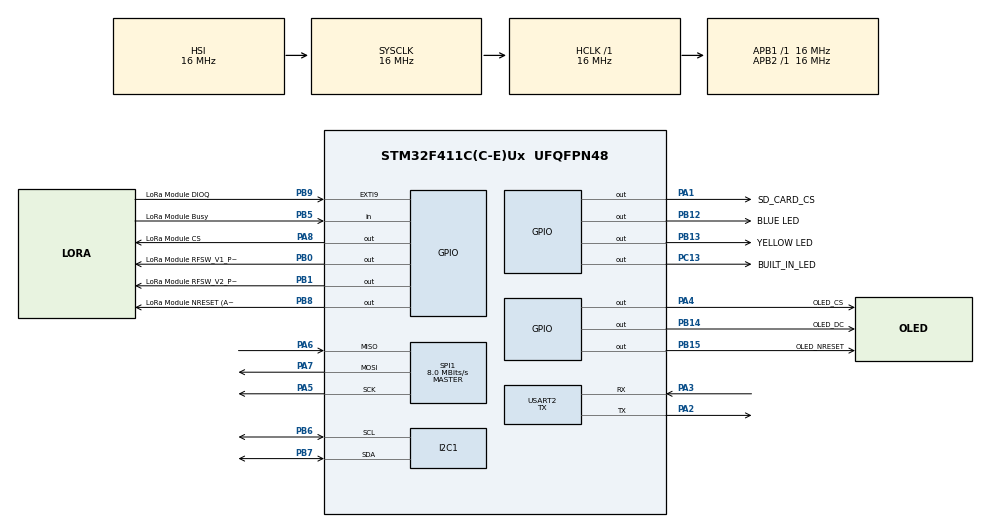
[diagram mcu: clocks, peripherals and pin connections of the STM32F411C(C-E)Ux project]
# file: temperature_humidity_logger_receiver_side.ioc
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I2C1.GeneralCallMode=I2C_GENERALCALL_DISABLE
I2C1.I2C_Mode=I2C_Standard
Mcu.Family=STM32F4
Mcu.Name=STM32F411C(C-E)Ux
Mcu.Package=UFQFPN48
NVIC.EXTI9_5_IRQn=true\:0\:0\:false\:false\:true\:true\:true\:true
NVIC.PriorityGroup=NVIC_PRIORITYGROUP_4
PA1.GPIO_Label=SD_CARD_CS
PA1.PinState=GPIO_PIN_SET
PA1.Signal=GPIO_Output
PA2.GPIO_Speed=GPIO_SPEED_FREQ_LOW
PA2.Mode=Asynchronous
PA2.Signal=USART2_TX
PA3.GPIO_Speed=GPIO_SPEED_FREQ_LOW
PA3.Mode=Asynchronous
PA3.Signal=USART2_RX
PA4.GPIO_Label=OLED_CS
PA4.PinState=GPIO_PIN_SET
PA4.Signal=GPIO_Output
PA5.GPIO_Speed=GPIO_SPEED_FREQ_LOW
PA5.Mode=Full_Duplex_Master
PA5.Signal=SPI1_SCK
PA6.GPIO_Speed=GPIO_SPEED_FREQ_LOW
PA6.Mode=Full_Duplex_Master
PA6.Signal=SPI1_MISO
PA7.GPIO_Speed=GPIO_SPEED_FREQ_LOW
PA7.Mode=Full_Duplex_Master
PA7.Signal=SPI1_MOSI
PA8.GPIO_Label=LoRa Module CS
PA8.PinState=GPIO_PIN_SET
PA8.Signal=GPIO_Output
PB0.GPIO_Label=LoRa Module RFSW_V1_PIN_POS
PB0.Signal=GPIO_Output
PB1.GPIO_Label=LoRa Module RFSW_V2_PIN_POS
PB1.Signal=GPIO_Output
PB12.GPIO_Label=BLUE LED
PB12.Signal=GPIO_Output
PB13.GPIO_Label=YELLOW LED
PB13.PinState=GPIO_PIN_RESET
PB13.Signal=GPIO_Output
PB14.GPIO_Label=OLED_DC
PB14.Signal=GPIO_Output
PB15.GPIO_Label=OLED_NRESET
PB15.PinState=GPIO_PIN_SET
PB15.Signal=GPIO_Output
PB5.GPIO_Label=LoRa Module Busy
PB5.Signal=GPIO_Input
PB6.GPIO_Speed=GPIO_SPEED_FREQ_LOW
PB6.Mode=I2C
PB6.Signal=I2C1_SCL
PB7.GPIO_Speed=GPIO_SPEED_FREQ_LOW
PB7.Mode=I2C
PB7.Signal=I2C1_SDA
PB8.GPIO_Label=LoRa Module NRESET (Active-Low)
PB8.PinState=GPIO_PIN_SET
PB8.Signal=GPIO_Output
PB9.GPIO_Label=LoRa Module DIOQ
PB9.GPIO_PuPd=GPIO_PULLDOWN
PB9.Signal=GPXTI9
PC13-ANTI_TAMP.GPIO_Label=BUILT_IN_LED
PC13-ANTI_TAMP.PinState=GPIO_PIN_SET
PC13-ANTI_TAMP.Signal=GPIO_Output
PC14-OSC32_IN.Mode=LSE-External-Oscillator
PC14-OSC32_IN.Signal=RCC_OSC32_IN
PC15-OSC32_OUT.Mode=LSE-External-Oscillator
PC15-OSC32_OUT.Signal=RCC_OSC32_OUT
ProjectManager.HeapSize=0x200
ProjectManager.StackSize=0x400
ProjectManager.TargetToolchain=STM32CubeIDE
RCC.48MHZClocksFreq_Value=48000000
RCC.AHBFreq_Value=16000000
RCC.APB1Freq_Value=16000000
RCC.APB1TimFreq_Value=16000000
RCC.APB2Freq_Value=16000000
RCC.APB2TimFreq_Value=16000000
RCC.CortexFreq_Value=16000000
RCC.HCLKFreq_Value=16000000
RCC.HSE_VALUE=25000000
RCC.HSI_VALUE=16000000
RCC.RCC_RTC_Clock_Source=RCC_RTCCLKSOURCE_LSE
RCC.RCC_RTC_Clock_SourceVirtual=RCC_RTCCLKSOURCE_LSE
RCC.SYSCLKFreq_VALUE=16000000
RCC.VCOOutputFreq_Value=192000000
SPI1.BaudRatePrescaler=SPI_BAUDRATEPRESCALER_2
SPI1.CLKPhase=SPI_PHASE_1EDGE
SPI1.CalculateBaudRate=8.0 MBits/s
SPI1.Direction=SPI_DIRECTION_2LINES
SPI1.Mode=SPI_MODE_MASTER
SPI1.VirtualType=VM_MASTER
USART2.Mode=MODE_TX
USART2.VirtualMode=VM_ASYNC
VP_RTC_VS_RTC_Activate.Mode=RTC_Enabled
VP_RTC_VS_RTC_Calendar.Mode=RTC_Calendar
board=custom

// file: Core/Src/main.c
/* USER CODE BEGIN Header */
/**
  ******************************************************************************
  * @file           : main.c
  * @brief          : Main program body
  ******************************************************************************
  * @attention
  *
  * Copyright (c) 2026 STMicroelectronics.
  * All rights reserved.
  *
  * This software is licensed under terms that can be found in the LICENSE file
  * in the root directory of this software component.
  * If no LICENSE file comes with this software, it is provided AS-IS.
  *
  ******************************************************************************
  */
/* USER CODE END Header */
#include "main.h"

/* USER CODE BEGIN Includes */
#include "rylr689_driver.h"
#include "ds3231_driver.h"
#include "stm32_commons.h"
#include "sdCard_driver.h"
#include "ff.h"
#include "oled_sh1106_driver.h"
#include "dht22_driver.h"
#include "temp_hum_commons.h"
#include <string.h>

/* USER CODE END Includes */

/* USER CODE BEGIN PD */
#define LAST_UPDATE_HEADER_LINE		0
#define DATE_HEADER_LINE 			1
#define TIME_HEADER_LINE 			2
#define TEMPERATURE_HEADER_LINE 	4
#define HUMIDITY_HEADER_LINE 		5

#define RTC_BASE_CENTURY			2000

#define TIME_FORMAT_WIDTH 8 /* HH:MM:SS -> 10 characters. */
#define DATE_FORMAT_WIDTH 10 /* MM:DD:YYYY -> 10 characters. */

/* USER CODE END PD */

I2C_HandleTypeDef hi2c1;

RTC_HandleTypeDef hrtc;

SPI_HandleTypeDef hspi1;

UART_HandleTypeDef huart2;

/* USER CODE BEGIN PV */

/* USER CODE BEGIN PV */

/* Extern in diskio.h */
sdCard_instance_t sdCardDev = {
		  .csPin = {
				  .port =SD_CARD_CS_GPIO_Port,
				  .pin = SD_CARD_CS_Pin
		  },
		  .pinRead = wrapper_pin_read,
		  .pinWrite = wrapper_pin_write,
		  .delay = wrapper_delay,
		  .spiHandle = &hspi1,
		  .spiTransmitReceive = wrapper_spi_transmit_receive,
		  .spiTransmit = wrapper_spi_transmit,
		  .getState = wrapper_get_spi_state,
		  .setBaudrate = wrapper_sdCard_spi_setBaudrate,
		  .initialized = 0
};

/* USER CODE END PV */

void SystemClock_Config(void);
static void MX_GPIO_Init(void);
static void MX_SPI1_Init(void);
static void MX_USART2_UART_Init(void);
static void MX_I2C1_Init(void);
static void MX_RTC_Init(void);
/* USER CODE BEGIN PFP */

static void rylry689_radio_init(rylr689_instance_t *dev, uint8_t *buffer);
static void sh1106_oled_init(oled_sh1106_instance_t *dev);
static void ds3231_rtc_init(ds3231_instance_t *dev);
static void sdCard_global_init(void);
static void syncIntRTCPeriphToExtRTC(ds3231_instance_t *dev);

/* For FatFS RTC capability. */
static void getDateTime(RTC_TimeTypeDef *curTime, RTC_DateTypeDef *curDate);

/* USER CODE END PFP */

/* USER CODE BEGIN 0 */

typedef enum {
	STATE_APP_START = 0,
	STATE_SLEEP_ON_WAIT,
	STATE_ON_RECEIVE
} app_state_t;

volatile app_state_t appState = STATE_APP_START;

/* USER CODE END 0 */

int main(void)
{

  /* MCU Configuration--------------------------------------------------------*/

  /* Reset of all peripherals, Initializes the Flash interface and the Systick. */
  HAL_Init();

  /* Configure the system clock */
  SystemClock_Config();

  /* Initialize all configured peripherals */
  MX_GPIO_Init();
  MX_SPI1_Init();
  MX_USART2_UART_Init();
  MX_I2C1_Init();
  MX_RTC_Init();
  /* USER CODE BEGIN 2 */

	/* Oled module START. */
	oled_sh1106_instance_t oled1;
	sh1106_oled_init(&oled1);
	/* Oled module END. */

	/* RTC module START. */
	ds3231_instance_t rtc1;
	ds3231_rtc_init(&rtc1);

	/* Update MCU RTC peripheral to avoid constantly querying ds3231 module. */
	syncIntRTCPeriphToExtRTC(&rtc1);

	RTC_TimeTypeDef curTime = {0};
	RTC_DateTypeDef curDate = {0};
	getDateTime(&curTime, &curDate);
	/* RTC module END. */

	/* SD card module START. */
	sdCard_global_init(); /* Initialize SD card. */

  	FATFS fs;   /* File system. */
  	FIL file;   /* File handler. */
  	FRESULT res; /* Result from file function calls. */
  	UINT br; /* Bytes read from file. */
  	UINT bw; /* Bytes written to file. */

  	/* Original files will have only the date stamp. If this file exist but the header
  	 * did not match, create a new file with time stamp.
  	 *
  	 * The limitation is that when the original fails. Then each boot up for the current
  	 * date will create new files with new time stamp. To avoid this, one possible solution
  	 * is to create a backup file for failing files, then reuse the original filename. This way
  	 * file creation can be reduced. The down-side is that creating a backup may take time if
  	 * original file is large.
  	 *
  	 * */
  	char filename[30];
  	char header[] = "Date: [mm-dd-yyyy],Time: (24-hour format): [hh-mm-ss],Temperature: (Celsius),Humidity: (%)\r\n";
  	uint32_t headerLen = strlen(header);

  	res = f_mount(&fs, "",0);

  	if(res != FR_OK) {
  		char *errMsg = "SD card error! Failed to mount file system!";
  		sh1106_setAtCharacter(&oled1, LAST_UPDATE_HEADER_LINE, 0);
		sh1106_write_line(&oled1, errMsg, strlen(errMsg));
		Error_Handler();
  	}

  	snprintf(filename, 29, "sensor_log_%04u-%02u-%02u.csv", \
  			(curDate.Year + RTC_BASE_CENTURY), curDate.Month, curDate.Date);
  	uint32_t startTime = HAL_GetTick();

  	/* Open file for current date. */
  	while((res = f_open(&file, filename, FA_WRITE | FA_READ | FA_OPEN_APPEND)) != FR_OK) {
  		if((HAL_GetTick() - startTime) > SD_TIMEOUT) {
  			char *errMsg = "SD card error! Failed to open file!";
			sh1106_setAtCharacter(&oled1, LAST_UPDATE_HEADER_LINE, 0);
			sh1106_write_line(&oled1, errMsg, strlen(errMsg));
  			Error_Handler();
  		}
  	}

  	/* Check if file is empty. If not check if header exist. */
  	if(f_size(&file) > 0) {
  		char testRead[headerLen];
  		/* Set cursor to beginning. Then perform a read. */
  		f_lseek(&file, 0);
  		res = f_read(&file, testRead, headerLen, &br);

  		/* 1st Method of handling failing files. */
  		/* No matching header. Create new file for same date but with timestamp. */
  		if(memcmp((char*)testRead, header, headerLen) != 0) {
  			FIL tempFile;
  			char tempFilename[FF_MAX_LFN];
  			uint8_t readBuff[512];
  			UINT bytesRead;
  			UINT bytesWritten;
  			FSIZE_t bytesCopied = 0;
  			FSIZE_t bytesRemaining = f_size(&file); /* Though f_size() returns uint64_t, it may be unrealistic
  																	  for a CSV file to be that large. So, only the lower 32-bit
  																	  will be used for now. */
  			char msgDspBuff[100] = "Error with log file! Performing backup...";
  			char *bytesRemHeader = "Bytes remaining: ";
  			char *bytesCopHeader = "Bytes copied: ";

  			uint8_t oldBytesRemValBuffLen;
			uint8_t oldBytesCopValBuffLen;

			sh1106_setAtCharacter(&oled1, LAST_UPDATE_HEADER_LINE, 0);
			sh1106_write_line(&oled1, msgDspBuff, strlen(msgDspBuff));

			/* Line #2. */
			sprintf(msgDspBuff, "File size: %lu", (uint32_t)bytesRemaining);
			sh1106_setAtCharacter(&oled1, LAST_UPDATE_HEADER_LINE + 2, 0);
			sh1106_write_line(&oled1, msgDspBuff, strlen(msgDspBuff));

			/* Line #4. */
			sh1106_setAtCharacter(&oled1, LAST_UPDATE_HEADER_LINE + 3, 0);
			sh1106_write_line(&oled1, bytesRemHeader, strlen(bytesRemHeader));
			sprintf(msgDspBuff, "%lu", (uint32_t)bytesRemaining);
			sh1106_setAtCharacter(&oled1, LAST_UPDATE_HEADER_LINE + 4, 0);
			sh1106_write_line(&oled1, msgDspBuff, strlen(msgDspBuff));
			oldBytesRemValBuffLen = strlen(msgDspBuff);

			/* Line #5. */
			sh1106_setAtCharacter(&oled1, LAST_UPDATE_HEADER_LINE + 5, 0);
			sh1106_write_line(&oled1, bytesCopHeader, strlen(bytesCopHeader));
			sprintf(msgDspBuff, "%lu", (uint32_t)bytesCopied);
			sh1106_setAtCharacter(&oled1, LAST_UPDATE_HEADER_LINE + 6, 0);
			sh1106_write_line(&oled1, msgDspBuff, strlen(msgDspBuff));
			oldBytesCopValBuffLen = strlen(msgDspBuff);

			getDateTime(&curTime, &curDate);

  			/* Filename format: mail_log_YYYY-MM-DD_hh-mm-ss.csv. */
  			snprintf(tempFilename, FF_MAX_LFN, "bak_failing_sensorlog_%04u-%02u-%02u_%02u-%02u-%02u.csv", \
  					(curDate.Year + RTC_BASE_CENTURY), curDate.Month, curDate.Date, \
  					 curTime.Hours, curTime.Minutes, curTime.Seconds);

  			f_open(&tempFile, tempFilename, (FA_WRITE | FA_READ | FA_OPEN_APPEND));

  			/* Set cursor to beginning of original file. Then perform a read. */
  			f_lseek(&file, 0);

  			while(bytesRemaining > bytesCopied) {
  				f_read(&file, readBuff, 512, &bytesRead);
  				f_write(&tempFile, readBuff, bytesRead, &bytesWritten);
  				f_sync(&tempFile);
  				bytesCopied += bytesWritten;

  				/* Display bytes remaining to be copied. */
				sprintf(msgDspBuff, "%lu", (uint32_t)(bytesRemaining - bytesCopied));

				if(oldBytesRemValBuffLen > strlen(msgDspBuff)) {
				  memset((msgDspBuff + strlen(msgDspBuff)), ' ', oldBytesRemValBuffLen - strlen(msgDspBuff));
				}
				sh1106_setAtCharacter(&oled1, LAST_UPDATE_HEADER_LINE + 4, 0);
				sh1106_write_line(&oled1, msgDspBuff, strlen(msgDspBuff));

				/* Display bytes copied. */
				sprintf(msgDspBuff, "%lu", (uint32_t)bytesCopied);
				if(oldBytesCopValBuffLen > strlen(msgDspBuff)) {
				  memset((msgDspBuff + strlen(msgDspBuff)), ' ', oldBytesCopValBuffLen - strlen(msgDspBuff));
				}
				sh1106_setAtCharacter(&oled1, LAST_UPDATE_HEADER_LINE + 6, 0);
				sh1106_write_line(&oled1, msgDspBuff, strlen(msgDspBuff));
  			}

  			sh1106_clearScreen(&oled1);
  			f_close(&tempFile);

//  			/* For debug START. */
//  			f_close(&file);
//  			HAL_GPIO_WritePin(BUILT_IN_LED_GPIO_Port, BUILT_IN_LED_Pin, GPIO_PIN_RESET);
//  			Error_Handler();
//  			/* For debug END. */

  			/* Set cursor to beginning of original file. Then delete its contents, keeping file open. */
  			f_lseek(&file, 0);
  			f_truncate(&file);
  			f_write(&file, header, headerLen, &bw);
  			f_sync(&file);
  		}
  		else {
  			/* Move back the cursor to EOF. To prepare for possible file write operations. */
  			f_lseek(&file, f_size(&file));
  		}
  	}
  	else {
  		res = f_write(&file, header, headerLen, &bw);
  		f_sync(&file);
  	}

  //	/* For debug. */
  //	f_close(&file);
  //	HAL_GPIO_WritePin(YELLOW_LED_GPIO_Port, YELLOW_LED_Pin, GPIO_PIN_SET);
  //	HAL_GPIO_WritePin(BLUE_LED_GPIO_Port, BLUE_LED_Pin, GPIO_PIN_SET);
  	/* SD card module END. */

  	HAL_GPIO_WritePin(BUILT_IN_LED_GPIO_Port, BUILT_IN_LED_Pin, GPIO_PIN_RESET);

  	/* Radio module START. */
  	uint8_t status[256];
  	rylr689_instance_t radio1;
  	rylry689_radio_init(&radio1, status);
  	uint32_t packetSizeReceived;
  	/* Radio module END. */

  	char tempReadBuff[16] = "N/A";
  	char humReadBuff[16] = "N/A";

	/* +1 for null character. */
	char dateBuff[DATE_FORMAT_WIDTH + 1];
	char timeBuff[TIME_FORMAT_WIDTH + 1];

	char* lastUpdateHeader = "Last updated:";
	char *dateHeader = "Date: ";
	char *timeHeader = "Time: ";
	char *temperatureHeader = "Temperature: ";
	char *humidityHeader = "Humidity: ";

	/* Write headers to designated lines. */
	sh1106_setAtCharacter(&oled1, LAST_UPDATE_HEADER_LINE, 0);
	sh1106_write_line(&oled1, lastUpdateHeader, strlen(lastUpdateHeader));

	sh1106_setAtCharacter(&oled1, DATE_HEADER_LINE, 0);
	sh1106_write_line(&oled1, dateHeader, strlen(dateHeader));
	snprintf(dateBuff, DATE_FORMAT_WIDTH + 1,"%02u/%02u/%04u", curDate.Month, curDate.Date, (uint16_t)curDate.Year + RTC_BASE_CENTURY);
	sh1106_write_line(&oled1, dateBuff, strlen(dateBuff));

	sh1106_setAtCharacter(&oled1, TIME_HEADER_LINE, 0);
	sh1106_write_line(&oled1, timeHeader, strlen(timeHeader));
	snprintf(timeBuff, TIME_FORMAT_WIDTH + 1, "%02u:%02u:%02u", curTime.Hours, curTime.Minutes, curTime.Seconds);
	sh1106_write_line(&oled1, timeBuff, strlen(timeBuff));

	sh1106_setAtCharacter(&oled1, TEMPERATURE_HEADER_LINE, 0);
	sh1106_write_line(&oled1, temperatureHeader, strlen(temperatureHeader));
	sh1106_write_line(&oled1, tempReadBuff, strlen(tempReadBuff));

	sh1106_setAtCharacter(&oled1, HUMIDITY_HEADER_LINE, 0);
	sh1106_write_line(&oled1, humidityHeader, strlen(humidityHeader));
	sh1106_write_line(&oled1, humReadBuff, strlen(humReadBuff));

	RTC_DateTypeDef savedDate = curDate;
	uint8_t oldTempBuffLen = strlen(tempReadBuff);
	uint8_t oldHumBuffLen = strlen(humReadBuff);
	char fileWriteSrcBuff[50];

  /* USER CODE END 2 */

  /* Infinite loop */
  /* USER CODE BEGIN WHILE */
  while (1)
  {
	  switch(appState) {
		  case STATE_APP_START:
			  rylr689_radio_receive_it(&radio1);
			  appState = STATE_SLEEP_ON_WAIT;
			  break;
		  case STATE_SLEEP_ON_WAIT:
			  /* Enter sleep....
			   * For now, do nothing.*/
			  break;
		  case STATE_ON_RECEIVE:
			  raw_dht22_data_t rawSensorData;
			  dht22_data_t sensorData;

			  /* Fetch packet. */
			  rylr689_radio_get_packet(&radio1, &packetSizeReceived);

			  /* +1 byte because of sensor query status code. */
			  if(packetSizeReceived != (sizeof(raw_dht22_data_t) + 1)) {
				  break; /* Error in transmission. Log it later. Don't update display. */
			  }

			  /* Check status of sensor query. */
			  switch (status[0]) {
			  case STATUS_SENSOR_QUERY_OK:
				  /* Status + 1 to skip sensor status code. */
				  memcpy((uint8_t*)&rawSensorData, status + 1, sizeof(raw_dht22_data_t));

				  /* Process data received. */
				  processTempHumidSensorData(&rawSensorData, &sensorData);
				  snprintf(tempReadBuff, 50, "%d.%d \xB0""C", sensorData.tempInt, sensorData.tempDec);
				  snprintf(humReadBuff, 50, "%d.%d%%", sensorData.humidityInt, sensorData.humidityDec);

				  /* Re-use status buffer. */
				  sprintf(fileWriteSrcBuff, "%s,%s,%d.%d,%d.%d\r\n",
						  dateBuff, timeBuff, sensorData.tempInt, \
						  sensorData.tempDec, sensorData.humidityInt, \
						  sensorData.humidityDec);
				  break;
			  case STATUS_SENSOR_QUERY_ERROR:
				  sprintf(tempReadBuff, "Error!");
				  sprintf(humReadBuff, "Error!");

				  sprintf(fileWriteSrcBuff, "%s,%s,Sensor Error!,Sensor Error!\r\n", dateBuff, timeBuff);
				  break;
			  default:
			  }

			  /* Update display for date and time. */
			  getDateTime(&curTime, &curDate);
			  /* Update date on screen only when it is different. */
			  if((curDate.Month != savedDate.Month) || (curDate.Date != savedDate.Date ) || (curDate.Year != savedDate.Year)) {
				  savedDate = curDate;
				  /* Go back to Date header line. */
				  sh1106_setAtCharacter(&oled1, DATE_HEADER_LINE, strlen(dateHeader));
				  snprintf(dateBuff, DATE_FORMAT_WIDTH + 1,"%02u/%02u/%04u", curDate.Month, curDate.Date, (uint16_t)curDate.Year + RTC_BASE_CENTURY);
				  sh1106_write_line(&oled1, dateBuff, DATE_FORMAT_WIDTH);
			  }

			  /* Go back to Time header line to update. */
			  sh1106_setAtCharacter(&oled1, TIME_HEADER_LINE, strlen(timeHeader));
			  snprintf(timeBuff, TIME_FORMAT_WIDTH + 1, "%02u:%02u:%02u", curTime.Hours, curTime.Minutes, curTime.Seconds);
			  sh1106_write_line(&oled1, timeBuff, TIME_FORMAT_WIDTH);

			  /* For debug. */
			  HAL_UART_Transmit(&huart2, status, packetSizeReceived, 100);

			  /* Update display for temperature and humidity readings. */
			  uint8_t newTempBuffLen = strlen(tempReadBuff);
			  uint8_t newHumBuffLen = strlen(humReadBuff);

			  /* Pad the buffers if necessary in case new reading has fewer characters.
			   * This is to erase the all characters from previous readings displayed in screen. */
			  if(oldTempBuffLen > newTempBuffLen) {
				  memset((tempReadBuff + newTempBuffLen), ' ', oldTempBuffLen - newTempBuffLen);
			  }
			  if(oldHumBuffLen > newHumBuffLen) {
				  memset((humReadBuff + newHumBuffLen), ' ', oldHumBuffLen - newHumBuffLen);
			  }

			  sh1106_setAtCharacter(&oled1, TEMPERATURE_HEADER_LINE, strlen(temperatureHeader));
			  sh1106_write_line(&oled1, tempReadBuff, strlen(tempReadBuff));

			  sh1106_setAtCharacter(&oled1, HUMIDITY_HEADER_LINE, strlen(humidityHeader));
			  sh1106_write_line(&oled1, humReadBuff, strlen(humReadBuff));

			  /* Update old readings character count. */
			  oldTempBuffLen = newTempBuffLen;
			  oldHumBuffLen = newHumBuffLen;

			  /* Log data to file. */
			  f_write(&file, fileWriteSrcBuff, (UINT)(strlen(fileWriteSrcBuff)), &bw);
			  f_sync(&file);
			  /* Reset application state. */
			  appState = STATE_APP_START;
			  break;
		  default:
	  }

    /* USER CODE END WHILE */

  }
}

void SystemClock_Config(void)
{
  RCC_OscInitTypeDef RCC_OscInitStruct = {0};
  RCC_ClkInitTypeDef RCC_ClkInitStruct = {0};

  /** Configure the main internal regulator output voltage
  */
  __HAL_RCC_PWR_CLK_ENABLE();
  __HAL_PWR_VOLTAGESCALING_CONFIG(PWR_REGULATOR_VOLTAGE_SCALE1);

  /** Initializes the RCC Oscillators according to the specified parameters
  * in the RCC_OscInitTypeDef structure.
  */
  RCC_OscInitStruct.OscillatorType = RCC_OSCILLATORTYPE_HSI|RCC_OSCILLATORTYPE_LSE;
  RCC_OscInitStruct.LSEState = RCC_LSE_ON;
  RCC_OscInitStruct.HSIState = RCC_HSI_ON;
  RCC_OscInitStruct.HSICalibrationValue = RCC_HSICALIBRATION_DEFAULT;
  RCC_OscInitStruct.PLL.PLLState = RCC_PLL_NONE;
  if (HAL_RCC_OscConfig(&RCC_OscInitStruct) != HAL_OK)
  {
    Error_Handler();
  }

  /** Initializes the CPU, AHB and APB buses clocks
  */
  RCC_ClkInitStruct.ClockType = RCC_CLOCKTYPE_HCLK|RCC_CLOCKTYPE_SYSCLK
                              |RCC_CLOCKTYPE_PCLK1|RCC_CLOCKTYPE_PCLK2;
  RCC_ClkInitStruct.SYSCLKSource = RCC_SYSCLKSOURCE_HSI;
  RCC_ClkInitStruct.AHBCLKDivider = RCC_SYSCLK_DIV1;
  RCC_ClkInitStruct.APB1CLKDivider = RCC_HCLK_DIV1;
  RCC_ClkInitStruct.APB2CLKDivider = RCC_HCLK_DIV1;

  if (HAL_RCC_ClockConfig(&RCC_ClkInitStruct, FLASH_LATENCY_0) != HAL_OK)
  {
    Error_Handler();
  }
}

static void MX_I2C1_Init(void)
{

  hi2c1.Instance = I2C1;
  hi2c1.Init.ClockSpeed = 100000;
  hi2c1.Init.DutyCycle = I2C_DUTYCYCLE_2;
  hi2c1.Init.OwnAddress1 = 0;
  hi2c1.Init.AddressingMode = I2C_ADDRESSINGMODE_7BIT;
  hi2c1.Init.DualAddressMode = I2C_DUALADDRESS_DISABLE;
  hi2c1.Init.OwnAddress2 = 0;
  hi2c1.Init.GeneralCallMode = I2C_GENERALCALL_DISABLE;
  hi2c1.Init.NoStretchMode = I2C_NOSTRETCH_DISABLE;
  if (HAL_I2C_Init(&hi2c1) != HAL_OK)
  {
    Error_Handler();
  }

}

static void MX_RTC_Init(void)
{

  RTC_TimeTypeDef sTime = {0};
  RTC_DateTypeDef sDate = {0};

  /** Initialize RTC Only
  */
  hrtc.Instance = RTC;
  hrtc.Init.HourFormat = RTC_HOURFORMAT_24;
  hrtc.Init.AsynchPrediv = 127;
  hrtc.Init.SynchPrediv = 255;
  hrtc.Init.OutPut = RTC_OUTPUT_DISABLE;
  hrtc.Init.OutPutPolarity = RTC_OUTPUT_POLARITY_HIGH;
  hrtc.Init.OutPutType = RTC_OUTPUT_TYPE_OPENDRAIN;
  if (HAL_RTC_Init(&hrtc) != HAL_OK)
  {
    Error_Handler();
  }

  /** Initialize RTC and set the Time and Date
  */
  sTime.Hours = 0x0;
  sTime.Minutes = 0x0;
  sTime.Seconds = 0x0;
  sTime.DayLightSaving = RTC_DAYLIGHTSAVING_NONE;
  sTime.StoreOperation = RTC_STOREOPERATION_RESET;
  if (HAL_RTC_SetTime(&hrtc, &sTime, RTC_FORMAT_BCD) != HAL_OK)
  {
    Error_Handler();
  }
  sDate.WeekDay = RTC_WEEKDAY_MONDAY;
  sDate.Month = RTC_MONTH_JANUARY;
  sDate.Date = 0x1;
  sDate.Year = 0x0;

  if (HAL_RTC_SetDate(&hrtc, &sDate, RTC_FORMAT_BCD) != HAL_OK)
  {
    Error_Handler();
  }

}

static void MX_SPI1_Init(void)
{

  /* SPI1 parameter configuration*/
  hspi1.Instance = SPI1;
  hspi1.Init.Mode = SPI_MODE_MASTER;
  hspi1.Init.Direction = SPI_DIRECTION_2LINES;
  hspi1.Init.DataSize = SPI_DATASIZE_8BIT;
  hspi1.Init.CLKPolarity = SPI_POLARITY_LOW;
  hspi1.Init.CLKPhase = SPI_PHASE_1EDGE;
  hspi1.Init.NSS = SPI_NSS_SOFT;
  hspi1.Init.BaudRatePrescaler = SPI_BAUDRATEPRESCALER_2;
  hspi1.Init.FirstBit = SPI_FIRSTBIT_MSB;
  hspi1.Init.TIMode = SPI_TIMODE_DISABLE;
  hspi1.Init.CRCCalculation = SPI_CRCCALCULATION_DISABLE;
  hspi1.Init.CRCPolynomial = 10;
  if (HAL_SPI_Init(&hspi1) != HAL_OK)
  {
    Error_Handler();
  }

}

static void MX_USART2_UART_Init(void)
{

  huart2.Instance = USART2;
  huart2.Init.BaudRate = 115200;
  huart2.Init.WordLength = UART_WORDLENGTH_8B;
  huart2.Init.StopBits = UART_STOPBITS_1;
  huart2.Init.Parity = UART_PARITY_NONE;
  huart2.Init.Mode = UART_MODE_TX;
  huart2.Init.HwFlowCtl = UART_HWCONTROL_NONE;
  huart2.Init.OverSampling = UART_OVERSAMPLING_16;
  if (HAL_UART_Init(&huart2) != HAL_OK)
  {
    Error_Handler();
  }

}

static void MX_GPIO_Init(void)
{
  GPIO_InitTypeDef GPIO_InitStruct = {0};

  /* GPIO Ports Clock Enable */
  __HAL_RCC_GPIOC_CLK_ENABLE();
  __HAL_RCC_GPIOA_CLK_ENABLE();
  __HAL_RCC_GPIOB_CLK_ENABLE();

  /*Configure GPIO pin Output Level */
  HAL_GPIO_WritePin(BUILT_IN_LED_GPIO_Port, BUILT_IN_LED_Pin, GPIO_PIN_SET);

  /*Configure GPIO pin Output Level */
  HAL_GPIO_WritePin(GPIOA, SD_CARD_CS_Pin|OLED_CS_Pin|LoRa_Module_CS_Pin, GPIO_PIN_SET);

  /*Configure GPIO pin Output Level */
  HAL_GPIO_WritePin(GPIOB, LoRa_Module_RFSW_V1_PIN_POS_Pin|LoRa_Module_RFSW_V2_PIN_POS_Pin|BLUE_LED_Pin|YELLOW_LED_Pin
                          |OLED_DC_Pin, GPIO_PIN_RESET);

  /*Configure GPIO pin Output Level */
  HAL_GPIO_WritePin(GPIOB, OLED_NRESET_Pin|LoRa_Module_NRESET_Pin, GPIO_PIN_SET);

  /*Configure GPIO pin : BUILT_IN_LED_Pin */
  GPIO_InitStruct.Pin = BUILT_IN_LED_Pin;
  GPIO_InitStruct.Mode = GPIO_MODE_OUTPUT_PP;
  GPIO_InitStruct.Pull = GPIO_NOPULL;
  GPIO_InitStruct.Speed = GPIO_SPEED_FREQ_LOW;
  HAL_GPIO_Init(BUILT_IN_LED_GPIO_Port, &GPIO_InitStruct);

  /*Configure GPIO pins : SD_CARD_CS_Pin OLED_CS_Pin LoRa_Module_CS_Pin */
  GPIO_InitStruct.Pin = SD_CARD_CS_Pin|OLED_CS_Pin|LoRa_Module_CS_Pin;
  GPIO_InitStruct.Mode = GPIO_MODE_OUTPUT_PP;
  GPIO_InitStruct.Pull = GPIO_NOPULL;
  GPIO_InitStruct.Speed = GPIO_SPEED_FREQ_LOW;
  HAL_GPIO_Init(GPIOA, &GPIO_InitStruct);

  /*Configure GPIO pins : LoRa_Module_RFSW_V1_PIN_POS_Pin LoRa_Module_RFSW_V2_PIN_POS_Pin BLUE_LED_Pin YELLOW_LED_Pin
                           OLED_DC_Pin OLED_NRESET_Pin LoRa_Module_NRESET_Pin */
  GPIO_InitStruct.Pin = LoRa_Module_RFSW_V1_PIN_POS_Pin|LoRa_Module_RFSW_V2_PIN_POS_Pin|BLUE_LED_Pin|YELLOW_LED_Pin
                          |OLED_DC_Pin|OLED_NRESET_Pin|LoRa_Module_NRESET_Pin;
  GPIO_InitStruct.Mode = GPIO_MODE_OUTPUT_PP;
  GPIO_InitStruct.Pull = GPIO_NOPULL;
  GPIO_InitStruct.Speed = GPIO_SPEED_FREQ_LOW;
  HAL_GPIO_Init(GPIOB, &GPIO_InitStruct);

  /*Configure GPIO pin : LoRa_Module_Busy_Pin */
  GPIO_InitStruct.Pin = LoRa_Module_Busy_Pin;
  GPIO_InitStruct.Mode = GPIO_MODE_INPUT;
  GPIO_InitStruct.Pull = GPIO_NOPULL;
  HAL_GPIO_Init(LoRa_Module_Busy_GPIO_Port, &GPIO_InitStruct);

  /*Configure GPIO pin : LoRa_Module_DIOQ_Pin */
  GPIO_InitStruct.Pin = LoRa_Module_DIOQ_Pin;
  GPIO_InitStruct.Mode = GPIO_MODE_IT_RISING;
  GPIO_InitStruct.Pull = GPIO_PULLDOWN;
  HAL_GPIO_Init(LoRa_Module_DIOQ_GPIO_Port, &GPIO_InitStruct);

  /* EXTI interrupt init*/
  HAL_NVIC_SetPriority(EXTI9_5_IRQn, 0, 0);
  HAL_NVIC_EnableIRQ(EXTI9_5_IRQn);

}

/* USER CODE BEGIN 4 */

/* For FATFS. */
DWORD get_fattime (void) {
	RTC_TimeTypeDef curTime;
	RTC_DateTypeDef curDate;
	getDateTime(&curTime, &curDate);

	return (((curDate.Year + RTC_BASE_CENTURY) - 1980) << 25) | \
			(curDate.Month << 21) | (curDate.Date << 16) | \
			(curTime.Hours << 11) | (curTime.Minutes << 5) | \
			(curTime.Seconds >> 1);
}

static void getDateTime(RTC_TimeTypeDef *curTime, RTC_DateTypeDef *curDate) {
	/* Must be called in sequence per HAL documentation.
	 * The RTC_FORMAT_BIN converts the native BCD format to binary
	 * representation of the value. This will give us the actual
	 * number for each field. */
	HAL_RTC_GetTime(&hrtc, curTime, RTC_FORMAT_BIN);
	HAL_RTC_GetDate(&hrtc, curDate, RTC_FORMAT_BIN);
}

static void sdCard_global_init(void) {
	sdCardDev.csPin.port = SD_CARD_CS_GPIO_Port;
	sdCardDev.csPin.pin = SD_CARD_CS_Pin;
	sdCardDev.pinRead = wrapper_pin_read;
	sdCardDev.pinWrite = wrapper_pin_write;
	sdCardDev.delay = wrapper_delay;
	sdCardDev.spiHandle = &hspi1;
	sdCardDev.spiTransmitReceive = wrapper_spi_transmit_receive;
	sdCardDev.spiTransmit = wrapper_spi_transmit;
	sdCardDev.getState = wrapper_get_spi_state;
	sdCardDev.setBaudrate = wrapper_sdCard_spi_setBaudrate;
	sdCardDev.initialized = 0;

	xSd_Init(&sdCardDev);
}

static void rylry689_radio_init(rylr689_instance_t *dev, uint8_t *buffer) {
	dev->csPin.pin = LoRa_Module_CS_Pin;
	dev->csPin.port = LoRa_Module_CS_GPIO_Port;
	dev->busyPin.pin = LoRa_Module_Busy_Pin;
	dev->busyPin.port = LoRa_Module_Busy_GPIO_Port;
	dev->nresetPin.pin = LoRa_Module_NRESET_Pin;
	dev->nresetPin.port = LoRa_Module_NRESET_GPIO_Port;
	dev->itPin.pin = LoRa_Module_DIOQ_Pin;
	dev->itPin.port = LoRa_Module_DIOQ_GPIO_Port;
	dev->rfswV1Pin.pin = LoRa_Module_RFSW_V1_PIN_POS_Pin;
	dev->rfswV1Pin.port = LoRa_Module_RFSW_V1_PIN_POS_GPIO_Port;
	dev->rfswV2Pin.pin = LoRa_Module_RFSW_V2_PIN_POS_Pin;
	dev->rfswV2Pin.port = LoRa_Module_RFSW_V2_PIN_POS_GPIO_Port;
	dev->pinWrite = wrapper_pin_write;
	dev->pinRead = wrapper_pin_read;
	dev->spiHandle = &hspi1;
	dev->spiReceive = wrapper_spi_receive;
	dev->spiTransmit = wrapper_spi_transmit;
	dev->rxBuff = buffer;
	dev->rxBuffSize = RX_BUFF_SIZE;
	dev->txBuff = buffer;
	dev->txBuffSize = TX_BUFF_SIZE;
	dev->initialized = 0;

	rylr689_radio_init(dev);
}
static void sh1106_oled_init(oled_sh1106_instance_t *dev) {
	dev->cs.port = OLED_CS_GPIO_Port;
	dev->cs.pin = OLED_CS_Pin;
	dev->dc.port = OLED_DC_GPIO_Port;
	dev->dc.pin = OLED_DC_Pin;
	dev->nreset.port = OLED_NRESET_GPIO_Port;
	dev->nreset.pin = OLED_NRESET_Pin;
	dev->gpio_write = wrapper_pin_write;
	dev->delay_ms = wrapper_delay;
	dev->spiHandle = &hspi1;
	dev->spiTransmit = wrapper_spi_transmit;
	dev->initialized = 0;

	sh1106_init(dev);
}

static void ds3231_rtc_init(ds3231_instance_t *dev) {
	dev->i2cHandle = &hi2c1;
	dev->i2cTransmit = wrapper_i2c_transmit_repeat_start;
	dev->i2cReceive = wrapper_i2c_receive_repeat_start;
	dev->baseCentury = RTC_BASE_CENTURY;
	dev->initialized = 0;

	ds3231_rtc_module_init(dev);
}

static void syncIntRTCPeriphToExtRTC(ds3231_instance_t *dev) {

	RTC_TimeTypeDef sTime = {0};
	RTC_DateTypeDef sDate = {0};
	raw_date_t rDate;
	raw_time_t rTime;

	/* Already in BCD, when calling HAL, use the RTC_FORMAT_BCD option. */
	ds3231_getRawCurrentDate(dev, &rDate);
	ds3231_getRawCurrentTime(dev, &rTime);

	sTime.Hours = rTime.hours;
	sTime.Minutes = rTime.minutes;
	sTime.Seconds = rTime.seconds;
	sTime.DayLightSaving = RTC_DAYLIGHTSAVING_NONE;
	sTime.StoreOperation = RTC_STOREOPERATION_RESET;

	if (HAL_RTC_SetTime(&hrtc, &sTime, RTC_FORMAT_BCD) != HAL_OK)
	{
		Error_Handler();
	}

	sDate.WeekDay = rDate.dayOfWeek;
	sDate.Month = rDate.month;
	sDate.Date = rDate.date;
	sDate.Year = rDate.year;

	if (HAL_RTC_SetDate(&hrtc, &sDate, RTC_FORMAT_BCD) != HAL_OK)
	{
		Error_Handler();
	}
}

void HAL_GPIO_EXTI_Callback(uint16_t GPIO_Pin) {
//	UNUSED(GPIO_Pin);
	appState = STATE_ON_RECEIVE;
}
/* USER CODE END 4 */

void Error_Handler(void)
{
  __disable_irq();
  while (1)
  {
  }
}
